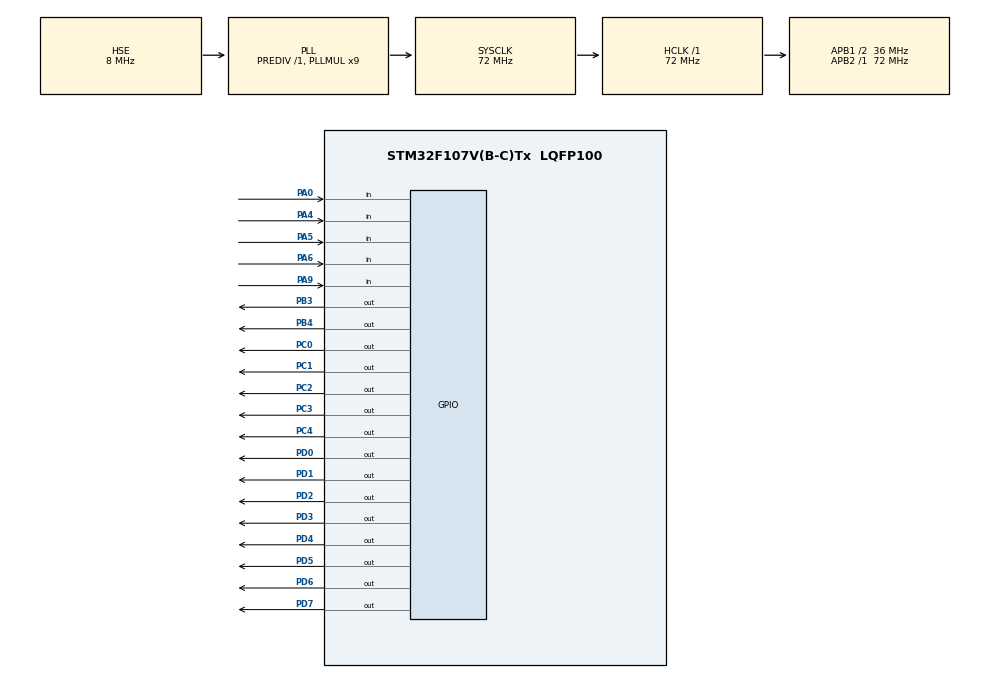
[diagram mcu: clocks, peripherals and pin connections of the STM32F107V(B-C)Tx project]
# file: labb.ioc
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Mcu.Family=STM32F1
Mcu.Name=STM32F107V(B-C)Tx
Mcu.Package=LQFP100
NVIC.PriorityGroup=NVIC_PRIORITYGROUP_4
OSC_IN.Mode=HSE-External-Oscillator
OSC_IN.Signal=RCC_OSC_IN
OSC_OUT.Mode=HSE-External-Oscillator
OSC_OUT.Signal=RCC_OSC_OUT
PA0-WKUP.GPIO_PuPd=GPIO_PULLDOWN
PA0-WKUP.Signal=GPIO_Input
PA13.Mode=Serial_Wire
PA13.Signal=SYS_JTMS-SWDIO
PA14.Mode=Serial_Wire
PA14.Signal=SYS_JTCK-SWCLK
PA4.GPIO_PuPd=GPIO_PULLDOWN
PA4.Signal=GPIO_Input
PA5.GPIO_PuPd=GPIO_PULLDOWN
PA5.Signal=GPIO_Input
PA6.GPIO_PuPd=GPIO_PULLDOWN
PA6.Signal=GPIO_Input
PA9.GPIO_PuPd=GPIO_PULLDOWN
PA9.Signal=GPIO_Input
PB3.Signal=GPIO_Output
PB4.Signal=GPIO_Output
PC0.Signal=GPIO_Output
PC1.Signal=GPIO_Output
PC14-OSC32_IN.Mode=LSE-External-Oscillator
PC14-OSC32_IN.Signal=RCC_OSC32_IN
PC15-OSC32_OUT.Mode=LSE-External-Oscillator
PC15-OSC32_OUT.Signal=RCC_OSC32_OUT
PC2.Signal=GPIO_Output
PC3.Signal=GPIO_Output
PC4.Signal=GPIO_Output
PD0.Signal=GPIO_Output
PD1.Signal=GPIO_Output
PD2.Signal=GPIO_Output
PD3.Signal=GPIO_Output
PD4.Signal=GPIO_Output
PD5.Signal=GPIO_Output
PD6.Signal=GPIO_Output
PD7.Signal=GPIO_Output
ProjectManager.HeapSize=0x200
ProjectManager.StackSize=0x400
ProjectManager.TargetToolchain=MDK-ARM V5.27
RCC.AHBFreq_Value=72000000
RCC.APB1CLKDivider=RCC_HCLK_DIV2
RCC.APB1Freq_Value=36000000
RCC.APB1TimFreq_Value=72000000
RCC.APB2Freq_Value=72000000
RCC.APB2TimFreq_Value=72000000
RCC.HCLKFreq_Value=72000000
RCC.PLLMUL=RCC_PLL_MUL9
RCC.PLLSourceVirtual=RCC_PLLSOURCE_HSE
RCC.SYSCLKFreq_VALUE=72000000
RCC.SYSCLKSource=RCC_SYSCLKSOURCE_PLLCLK
RCC.USBFreq_Value=48000000
board=custom

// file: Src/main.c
/* USER CODE BEGIN Header */
/**
  ******************************************************************************
  * @file           : main.c
  * @brief          : Main program body
  ******************************************************************************
  * @attention
  *
  * <h2><center>&copy; Copyright (c) 2020 STMicroelectronics.
  * All rights reserved.</center></h2>
  *
  * This software component is licensed by ST under BSD 3-Clause license,
  * the "License"; You may not use this file except in compliance with the
  * License. You may obtain a copy of the License at:
  *                        opensource.org/licenses/BSD-3-Clause
  *
  ******************************************************************************
  */
/* USER CODE END Header */

#include "main.h"

void SystemClock_Config(void);
static void MX_GPIO_Init(void);

int main(void)
{

  /* MCU Configuration--------------------------------------------------------*/

  /* Reset of all peripherals, Initializes the Flash interface and the Systick. */
  HAL_Init();

  /* Configure the system clock */
  SystemClock_Config();

  /* Initialize all configured peripherals */
  MX_GPIO_Init();
  /* USER CODE BEGIN 2 */
 uint8_t number1=0;
 uint8_t number2=0;
 uint8_t sum=0;
  /* USER CODE END 2 */

  /* Infinite loop */
  while (1)
  {

    /* USER CODE BEGIN 3 */
			if(HAL_GPIO_ReadPin(GPIOA,GPIO_PIN_5)){
			 if(number1<16){
				 number1++;
			 }
		 }else if(HAL_GPIO_ReadPin(GPIOA,GPIO_PIN_6)){
			 if(number1>0){
				 number1--;
			 }
      }else if(HAL_GPIO_ReadPin(GPIOA,GPIO_PIN_9))	{
				if(number2<16){
				 number2++;
			 }
			}else if(HAL_GPIO_ReadPin(GPIOA,GPIO_PIN_4))	{
				 if(number2>0){
				 number2--;
			 }

			}else if(HAL_GPIO_ReadPin(GPIOA,GPIO_PIN_0))     {
			  sum=number1+number2;
			}
		  sum%=31;
		 number1 %=16;
		 number2 %=16;

	   GPIOD->ODR=number1 | number2<<4;
     GPIOC->ODR=sum;

		HAL_Delay(500);
		sum=0;
  }
  /* USER CODE END 3 */
}

void SystemClock_Config(void)
{
  RCC_OscInitTypeDef RCC_OscInitStruct = {0};
  RCC_ClkInitTypeDef RCC_ClkInitStruct = {0};

  /** Initializes the CPU, AHB and APB busses clocks
  */
  RCC_OscInitStruct.OscillatorType = RCC_OSCILLATORTYPE_HSE;
  RCC_OscInitStruct.HSEState = RCC_HSE_ON;
  RCC_OscInitStruct.HSEPredivValue = RCC_HSE_PREDIV_DIV1;
  RCC_OscInitStruct.HSIState = RCC_HSI_ON;
  RCC_OscInitStruct.Prediv1Source = RCC_PREDIV1_SOURCE_HSE;
  RCC_OscInitStruct.PLL.PLLState = RCC_PLL_ON;
  RCC_OscInitStruct.PLL.PLLSource = RCC_PLLSOURCE_HSE;
  RCC_OscInitStruct.PLL.PLLMUL = RCC_PLL_MUL9;
  RCC_OscInitStruct.PLL2.PLL2State = RCC_PLL_NONE;
  if (HAL_RCC_OscConfig(&RCC_OscInitStruct) != HAL_OK)
  {
    Error_Handler();
  }
  /** Initializes the CPU, AHB and APB busses clocks
  */
  RCC_ClkInitStruct.ClockType = RCC_CLOCKTYPE_HCLK|RCC_CLOCKTYPE_SYSCLK
                              |RCC_CLOCKTYPE_PCLK1|RCC_CLOCKTYPE_PCLK2;
  RCC_ClkInitStruct.SYSCLKSource = RCC_SYSCLKSOURCE_PLLCLK;
  RCC_ClkInitStruct.AHBCLKDivider = RCC_SYSCLK_DIV1;
  RCC_ClkInitStruct.APB1CLKDivider = RCC_HCLK_DIV2;
  RCC_ClkInitStruct.APB2CLKDivider = RCC_HCLK_DIV1;

  if (HAL_RCC_ClockConfig(&RCC_ClkInitStruct, FLASH_LATENCY_2) != HAL_OK)
  {
    Error_Handler();
  }
  /** Configure the Systick interrupt time
  */
  __HAL_RCC_PLLI2S_ENABLE();
}

static void MX_GPIO_Init(void)
{
  GPIO_InitTypeDef GPIO_InitStruct = {0};

  /* GPIO Ports Clock Enable */
  __HAL_RCC_GPIOC_CLK_ENABLE();
  __HAL_RCC_GPIOA_CLK_ENABLE();
  __HAL_RCC_GPIOD_CLK_ENABLE();
  __HAL_RCC_GPIOB_CLK_ENABLE();

  /*Configure GPIO pin Output Level */
  HAL_GPIO_WritePin(GPIOC, GPIO_PIN_0|GPIO_PIN_1|GPIO_PIN_2|GPIO_PIN_3
                          |GPIO_PIN_4, GPIO_PIN_RESET);

  /*Configure GPIO pin Output Level */
  HAL_GPIO_WritePin(GPIOD, GPIO_PIN_0|GPIO_PIN_1|GPIO_PIN_2|GPIO_PIN_3
                          |GPIO_PIN_4|GPIO_PIN_5|GPIO_PIN_6|GPIO_PIN_7, GPIO_PIN_RESET);

  /*Configure GPIO pin Output Level */
  HAL_GPIO_WritePin(GPIOB, GPIO_PIN_3|GPIO_PIN_4, GPIO_PIN_RESET);

  /*Configure GPIO pins : PC0 PC1 PC2 PC3
                           PC4 */
  GPIO_InitStruct.Pin = GPIO_PIN_0|GPIO_PIN_1|GPIO_PIN_2|GPIO_PIN_3
                          |GPIO_PIN_4;
  GPIO_InitStruct.Mode = GPIO_MODE_OUTPUT_PP;
  GPIO_InitStruct.Pull = GPIO_NOPULL;
  GPIO_InitStruct.Speed = GPIO_SPEED_FREQ_LOW;
  HAL_GPIO_Init(GPIOC, &GPIO_InitStruct);

  /*Configure GPIO pins : PA0 PA4 PA5 PA6
                           PA9 */
  GPIO_InitStruct.Pin = GPIO_PIN_0|GPIO_PIN_4|GPIO_PIN_5|GPIO_PIN_6
                          |GPIO_PIN_9;
  GPIO_InitStruct.Mode = GPIO_MODE_INPUT;
  GPIO_InitStruct.Pull = GPIO_PULLDOWN;
  HAL_GPIO_Init(GPIOA, &GPIO_InitStruct);

  /*Configure GPIO pins : PD0 PD1 PD2 PD3
                           PD4 PD5 PD6 PD7 */
  GPIO_InitStruct.Pin = GPIO_PIN_0|GPIO_PIN_1|GPIO_PIN_2|GPIO_PIN_3
                          |GPIO_PIN_4|GPIO_PIN_5|GPIO_PIN_6|GPIO_PIN_7;
  GPIO_InitStruct.Mode = GPIO_MODE_OUTPUT_PP;
  GPIO_InitStruct.Pull = GPIO_NOPULL;
  GPIO_InitStruct.Speed = GPIO_SPEED_FREQ_LOW;
  HAL_GPIO_Init(GPIOD, &GPIO_InitStruct);

  /*Configure GPIO pins : PB3 PB4 */
  GPIO_InitStruct.Pin = GPIO_PIN_3|GPIO_PIN_4;
  GPIO_InitStruct.Mode = GPIO_MODE_OUTPUT_PP;
  GPIO_InitStruct.Pull = GPIO_NOPULL;
  GPIO_InitStruct.Speed = GPIO_SPEED_FREQ_LOW;
  HAL_GPIO_Init(GPIOB, &GPIO_InitStruct);

}

void Error_Handler(void)
{
}

/************************ (C) COPYRIGHT STMicroelectronics *****END OF FILE****/
